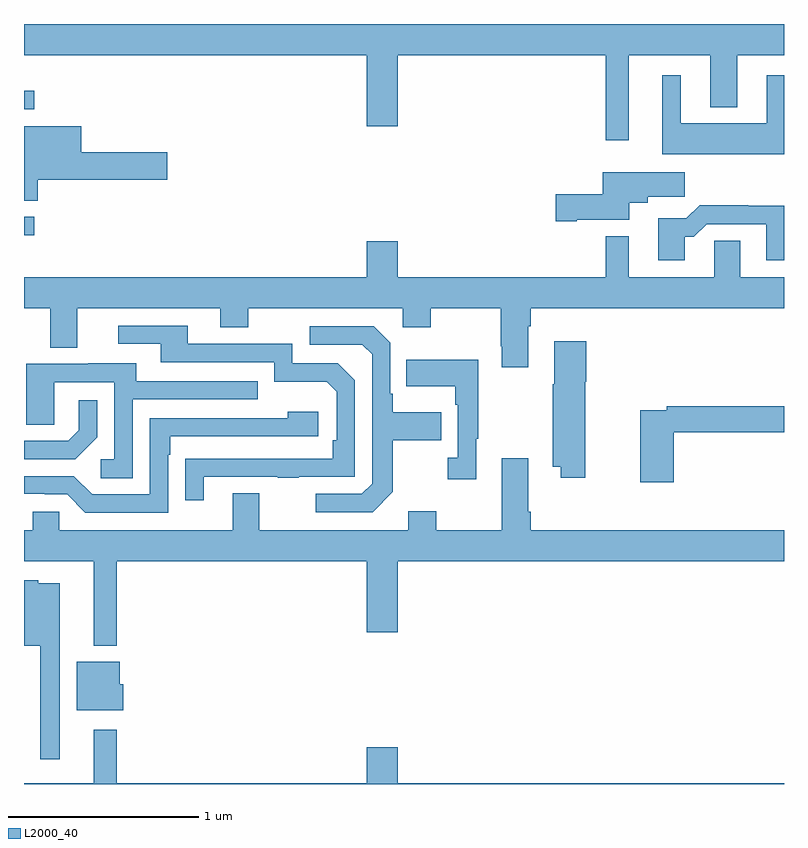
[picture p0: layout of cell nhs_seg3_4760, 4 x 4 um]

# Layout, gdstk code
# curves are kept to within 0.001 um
import gdstk
lib = gdstk.Library(unit=1e-6, precision=1e-09)
def R(c, l, rs):  # rectangles x0, y0, x1, y1
    for r in rs: c.add(gdstk.rectangle(r[:2], r[2:], *l))
def P(c, l, *ps):  # polygons
    for p in ps: c.add(gdstk.Polygon(p, *l))
L2000_40 = (2000, 40)

nhs_seg3_4760 = lib.new_cell('nhs_seg3_4760')
R(nhs_seg3_4760, L2000_40, [(367,713.287,367.054,713.385), (367,713.952,367.054,714.048)])
P(nhs_seg3_4760, L2000_40, [(370.183,714.236),(370.613,714.236),(370.613,713.963),(370.753,713.963),(370.753,714.236),(371,714.236),(371,714.4),(367,714.4),(367,714.236),(368.804,714.236),(368.804,713.862),(368.968,713.862),(368.968,714.236),(370.062,714.236),(370.062,713.787),(370.183,713.787)],
  [(371,714.13),(370.91,714.13),(370.91,713.878),(370.456,713.878),(370.456,714.13),(370.358,714.13),(370.358,713.714),(371,713.714)],
  [(367.073,713.579),(367.753,713.579),(367.753,713.726),(367.3,713.726),(367.3,713.863),(367,713.863),(367,713.47),(367.073,713.47)],
  [(369.91,713.369),(370.186,713.369),(370.186,713.459),(370.282,713.459),(370.282,713.491),(370.477,713.491),(370.477,713.62),(370.046,713.62),(370.046,713.504),(369.798,713.504),(369.798,713.362),(369.91,713.362)],
  [(370.477,713.279),(370.526,713.279),(370.593,713.346),(370.907,713.346),(370.907,713.157),(371,713.157),(371,713.444),(370.811,713.444),(370.811,713.447),(370.556,713.447),(370.486,713.377),(370.337,713.377),(370.337,713.157),(370.477,713.157)],
  [(369.655,712.808),(369.668,712.808),(369.668,712.904),(371,712.904),(371,713.068),(370.771,713.068),(370.771,713.258),(370.632,713.258),(370.632,713.068),(370.183,713.068),(370.183,713.284),(370.062,713.284),(370.062,713.068),(368.968,713.068),(368.968,713.257),(368.804,713.257),(368.804,713.068),(367,713.068),(367,712.904),(367.139,712.904),(367.139,712.696),(367.279,712.696),(367.279,712.904),(368.033,712.904),(368.033,712.805),(368.181,712.805),(368.181,712.904),(368.994,712.904),(368.994,712.805),(369.141,712.805),(369.141,712.904),(369.508,712.904),(369.508,712.705),(369.515,712.705),(369.515,712.593),(369.655,712.593)],
  [(367.945,712.017),(368.335,712.017),(368.335,712.012),(368.447,712.012),(368.447,712.017),(368.742,712.017),(368.742,712.524),(368.652,712.614),(368.412,712.614),(368.412,712.716),(367.861,712.716),(367.861,712.812),(367.497,712.812),(367.497,712.716),(367.721,712.716),(367.721,712.62),(368.316,712.62),(368.316,712.517),(368.593,712.517),(368.646,712.464),(368.646,712.21),(368.626,712.21),(368.626,712.113),(367.849,712.112),(367.849,711.894),(367.945,711.894)],
  [(368.941,711.937),(368.941,712.21),(369.197,712.21),(369.197,712.357),(368.941,712.357),(368.941,712.453),(368.928,712.453),(368.928,712.722),(368.841,712.809),(368.505,712.809),(368.505,712.713),(368.781,712.713),(368.832,712.662),(368.832,711.981),(368.778,711.927),(368.535,711.927),(368.535,711.831),(368.835,711.831)],
  [(369.954,712.516),(369.959,712.516),(369.959,712.729),(369.791,712.729),(369.791,712.505),(369.784,712.505),(369.784,712.07),(369.824,712.07),(369.824,712.011),(369.954,712.011)],
  [(369.379,712.217),(369.391,712.217),(369.391,712.633),(369.013,712.633),(369.013,712.493),(369.27,712.493),(369.27,712.397),(369.282,712.397),(369.282,712.118),(369.231,712.118),(369.231,712.005),(369.379,712.005)],
  [(367.572,712.425),(368.231,712.425),(368.231,712.521),(367.591,712.521),(367.591,712.615),(367.337,712.615),(367.337,712.611),(367.013,712.611),(367.013,712.291),(367.158,712.291),(367.158,712.515),(367.476,712.515),(367.476,712.11),(367.404,712.11),(367.404,712.009),(367.572,712.009)],
  [(367.386,712.226),(367.386,712.42),(367.289,712.42),(367.289,712.263),(367.232,712.206),(367,712.206),(367,712.11),(367.27,712.11)],
  [(370.421,712.252),(371,712.252),(371,712.388),(370.384,712.388),(370.384,712.368),(370.243,712.368),(370.243,711.987),(370.421,711.987)],
  [(367.758,712.133),(367.771,712.133),(367.771,712.23),(368.548,712.23),(368.548,712.36),(368.387,712.36),(368.387,712.326),(367.662,712.326),(367.662,711.924),(367.359,711.924),(367.263,712.02),(367,712.02),(367,711.927),(367.109,711.927),(367.109,711.924),(367.227,711.924),(367.323,711.828),(367.758,711.828)],
  [(367.489,711.572),(368.804,711.572),(368.804,711.198),(368.968,711.198),(368.968,711.572),(371,711.572),(371,711.736),(369.668,711.736),(369.668,711.832),(369.655,711.832),(369.655,712.114),(369.515,712.114),(369.515,711.736),(369.171,711.736),(369.171,711.835),(369.023,711.835),(369.023,711.736),(368.239,711.736),(368.239,711.931),(368.099,711.931),(368.099,711.736),(367.185,711.736),(367.185,711.834),(367.047,711.834),(367.047,711.736),(367,711.736),(367,711.572),(367.367,711.572),(367.367,711.128),(367.489,711.128)],
  [(367.189,711.457),(367.074,711.457),(367.074,711.472),(367,711.472),(367,711.128),(367.085,711.128),(367.085,710.529),(367.189,710.529)],
  [(367.522,710.925),(367.504,710.925),(367.504,711.043),(367.277,711.043),(367.277,710.789),(367.522,710.789)],
  [(371,710.404),(368.968,710.404),(368.968,710.593),(368.804,710.593),(368.804,710.404),(367.489,710.404),(367.489,710.686),(367.367,710.686),(367.367,710.404),(367,710.404),(367,710.4),(371,710.4)])

lib.write_gds('nhs_seg3_4760.gds')
